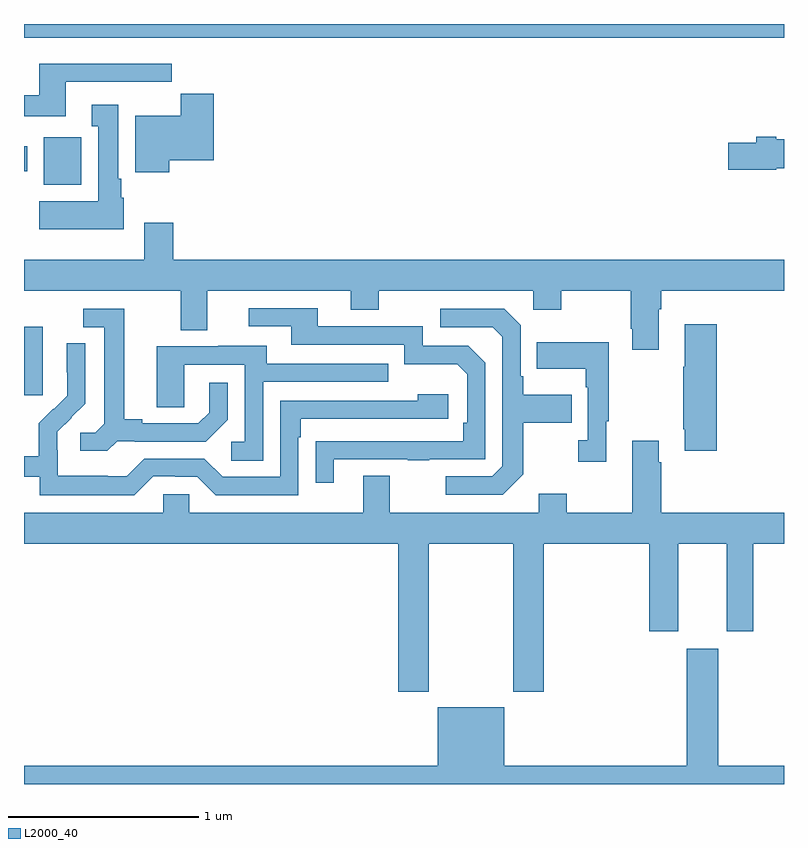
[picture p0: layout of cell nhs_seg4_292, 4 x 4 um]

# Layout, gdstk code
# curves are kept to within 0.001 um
import gdstk
lib = gdstk.Library(unit=1e-6, precision=1e-09)
def R(c, l, rs):  # rectangles x0, y0, x1, y1
    for r in rs: c.add(gdstk.rectangle(r[:2], r[2:], *l))
def P(c, l, *ps):  # polygons
    for p in ps: c.add(gdstk.Polygon(p, *l))
L2000_40 = (2000, 40)

nhs_seg4_292 = lib.new_cell('nhs_seg4_292')
R(nhs_seg4_292, L2000_40, [(125,786.945,125.098,787.306), (125.105,788.054,125.301,788.305), (125,788.124,125.017,788.256), (125,788.828,129,788.9)])
P(nhs_seg4_292, L2000_40, [(125.221,788.595),(125.669,788.595),(125.669,788.597),(125.778,788.597),(125.778,788.692),(125.081,788.692),(125.081,788.524),(125,788.524),(125,788.415),(125.221,788.415)],
  [(125.764,788.183),(125.999,788.183),(125.999,788.532),(125.825,788.532),(125.825,788.416),(125.585,788.416),(125.585,788.12),(125.764,788.12)],
  [(125.524,787.986),(125.512,787.986),(125.512,788.086),(125.497,788.086),(125.497,788.476),(125.357,788.476),(125.357,788.363),(125.39,788.363),(125.39,787.966),(125.081,787.966),(125.081,787.82),(125.524,787.82)],
  [(128.959,788.141),(129,788.141),(129,788.293),(128.959,788.293),(128.959,788.306),(128.855,788.306),(128.855,788.276),(128.706,788.276),(128.706,788.134),(128.959,788.134)],
  [(128.341,787.4),(128.354,787.4),(128.354,787.496),(129,787.496),(129,787.66),(125.786,787.66),(125.786,787.855),(125.633,787.855),(125.633,787.66),(125,787.66),(125,787.496),(125.825,787.496),(125.825,787.288),(125.965,787.288),(125.965,787.496),(126.719,787.496),(126.719,787.397),(126.867,787.397),(126.867,787.496),(127.68,787.496),(127.68,787.397),(127.827,787.397),(127.827,787.496),(128.194,787.496),(128.194,787.297),(128.201,787.297),(128.201,787.185),(128.341,787.185)],
  [(126.631,786.609),(127.021,786.609),(127.021,786.604),(127.133,786.604),(127.133,786.609),(127.428,786.609),(127.428,787.116),(127.338,787.206),(127.098,787.206),(127.098,787.308),(126.547,787.308),(126.547,787.404),(126.183,787.404),(126.183,787.308),(126.407,787.308),(126.407,787.212),(127.002,787.212),(127.002,787.109),(127.279,787.109),(127.332,787.056),(127.332,786.802),(127.312,786.802),(127.312,786.705),(126.535,786.704),(126.535,786.486),(126.631,786.486)],
  [(125.49,786.705),(125.584,786.705),(125.584,786.702),(125.956,786.702),(126.072,786.818),(126.072,787.012),(125.975,787.012),(125.975,786.855),(125.918,786.798),(125.623,786.798),(125.623,786.821),(125.527,786.821),(125.527,787.401),(125.313,787.401),(125.313,787.305),(125.423,787.305),(125.423,786.797),(125.376,786.75),(125.295,786.75),(125.295,786.653),(125.438,786.653)],
  [(127.627,786.529),(127.627,786.802),(127.883,786.802),(127.883,786.949),(127.627,786.949),(127.627,787.045),(127.614,787.045),(127.614,787.314),(127.527,787.401),(127.191,787.401),(127.191,787.305),(127.467,787.305),(127.518,787.254),(127.518,786.573),(127.464,786.519),(127.221,786.519),(127.221,786.423),(127.521,786.423)],
  [(128.645,787.321),(128.477,787.321),(128.477,787.097),(128.47,787.097),(128.47,786.766),(128.477,786.766),(128.477,786.654),(128.645,786.654)],
  [(128.065,786.809),(128.077,786.809),(128.077,787.225),(127.699,787.225),(127.699,787.085),(127.956,787.085),(127.956,786.989),(127.968,786.989),(127.968,786.71),(127.917,786.71),(127.917,786.597),(128.065,786.597)],
  [(125.679,786.519),(125.795,786.519),(125.795,786.516),(125.913,786.516),(126.009,786.42),(126.444,786.42),(126.444,786.725),(126.457,786.725),(126.457,786.822),(127.234,786.822),(127.234,786.952),(127.073,786.952),(127.073,786.918),(126.348,786.918),(126.348,786.516),(126.045,786.516),(125.949,786.612),(125.634,786.612),(125.541,786.519),(125.441,786.519),(125.441,786.523),(125.178,786.523),(125.178,786.657),(125.176,786.657),(125.176,786.754),(125.322,786.902),(125.322,787.22),(125.226,787.22),(125.226,787.066),(125.228,787.066),(125.228,786.944),(125.157,786.873),(125.154,786.876),(125.077,786.799),(125.077,786.625),(125,786.625),(125,786.516),(125.082,786.516),(125.082,786.419),(125.579,786.419)],
  [(126.258,787.017),(126.917,787.017),(126.917,787.113),(126.277,787.113),(126.277,787.207),(126.023,787.207),(126.023,787.203),(125.699,787.203),(125.699,786.883),(125.844,786.883),(125.844,787.107),(126.162,787.107),(126.162,786.702),(126.09,786.702),(126.09,786.601),(126.258,786.601)],
  [(127.131,786.164),(127.576,786.164),(127.576,785.385),(127.736,785.385),(127.736,786.164),(128.291,786.164),(128.291,785.703),(128.443,785.703),(128.443,786.164),(128.699,786.164),(128.699,785.703),(128.839,785.703),(128.839,786.164),(129,786.164),(129,786.328),(128.354,786.328),(128.354,786.593),(128.341,786.593),(128.341,786.706),(128.201,786.706),(128.201,786.328),(127.857,786.328),(127.857,786.427),(127.709,786.427),(127.709,786.328),(126.925,786.328),(126.925,786.523),(126.785,786.523),(126.785,786.328),(125.871,786.328),(125.871,786.426),(125.733,786.426),(125.733,786.328),(125,786.328),(125,786.164),(126.971,786.164),(126.971,785.385),(127.131,785.385)],
  [(129,784.996),(128.653,784.996),(128.653,785.611),(128.489,785.611),(128.489,784.996),(127.528,784.996),(127.528,785.305),(127.178,785.305),(127.178,784.996),(125,784.996),(125,784.9),(129,784.9)])

lib.write_gds('nhs_seg4_292.gds')
